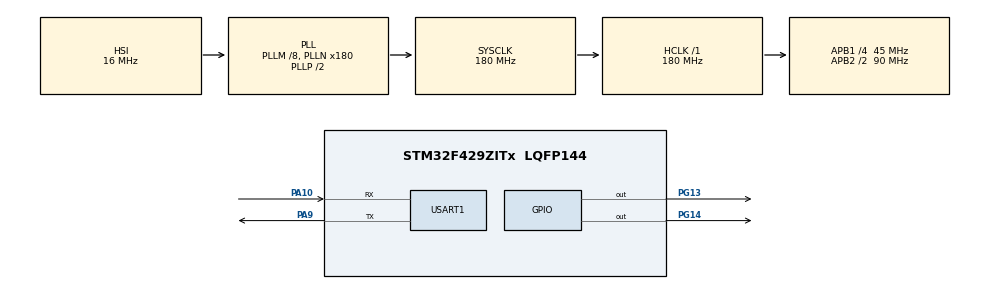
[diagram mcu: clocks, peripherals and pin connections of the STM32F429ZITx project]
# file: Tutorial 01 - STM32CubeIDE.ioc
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Mcu.Family=STM32F4
Mcu.Name=STM32F429ZITx
Mcu.Package=LQFP144
NVIC.PriorityGroup=NVIC_PRIORITYGROUP_4
NVIC.USART1_IRQn=true\:0\:0\:false\:false\:true\:true\:true
PA10.Mode=Asynchronous
PA10.Signal=USART1_RX
PA9.Mode=Asynchronous
PA9.Signal=USART1_TX
PG13.Signal=GPIO_Output
PG14.Signal=GPIO_Output
PH0/OSC_IN.Mode=HSE-External-Oscillator
PH0/OSC_IN.Signal=RCC_OSC_IN
PH1/OSC_OUT.Mode=HSE-External-Oscillator
PH1/OSC_OUT.Signal=RCC_OSC_OUT
ProjectManager.HeapSize=0x200
ProjectManager.StackSize=0x400
ProjectManager.TargetToolchain=STM32CubeIDE
RCC.48MHZClocksFreq_Value=90000000
RCC.AHBFreq_Value=180000000
RCC.APB1CLKDivider=RCC_HCLK_DIV4
RCC.APB1Freq_Value=45000000
RCC.APB1TimFreq_Value=90000000
RCC.APB2CLKDivider=RCC_HCLK_DIV2
RCC.APB2Freq_Value=90000000
RCC.APB2TimFreq_Value=180000000
RCC.CortexFreq_Value=180000000
RCC.HCLKFreq_Value=180000000
RCC.HSE_VALUE=8000000
RCC.HSI_VALUE=16000000
RCC.LSE_VALUE=32768
RCC.PLLM=8
RCC.PLLN=180
RCC.SYSCLKFreq_VALUE=180000000
RCC.SYSCLKSource=RCC_SYSCLKSOURCE_PLLCLK
RCC.VCOOutputFreq_Value=360000000
USART1.VirtualMode=VM_ASYNC
board=custom

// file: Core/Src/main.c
/* USER CODE BEGIN Header */
/**
  ******************************************************************************
  * @file           : main.c
  * @brief          : Main program body
  ******************************************************************************
  * @attention
  *
  * <h2><center>&copy; Copyright (c) 2021 STMicroelectronics.
  * All rights reserved.</center></h2>
  *
  * This software component is licensed by ST under BSD 3-Clause license,
  * the "License"; You may not use this file except in compliance with the
  * License. You may obtain a copy of the License at:
  *                        opensource.org/licenses/BSD-3-Clause
  *
  ******************************************************************************
  */
/* USER CODE END Header */
#include "main.h"
#include "usart.h"
#include "gpio.h"

/* USER CODE BEGIN Includes */
#include "utility.h"
/* USER CODE END Includes */

/* USER CODE BEGIN PV */
uint8_t rxData;
/* USER CODE END PV */

void SystemClock_Config(void);
/* USER CODE BEGIN PFP */

// Add "-u_printf_float" to MCU GCC Linker > Miscellaneous
int _write(int file, char *ptr, int len)
{
  HAL_UART_Transmit(&huart1, (uint8_t *)ptr, len, 10);
  return len;
}

/* USER CODE END PFP */

int main(void)
{

  /* MCU Configuration--------------------------------------------------------*/

  /* Reset of all peripherals, Initializes the Flash interface and the Systick. */
  HAL_Init();

  /* Configure the system clock */
  SystemClock_Config();

  /* Initialize all configured peripherals */
  MX_GPIO_Init();
  MX_USART1_UART_Init();
  /* USER CODE BEGIN 2 */

  HAL_UART_Receive_IT(&huart1, &rxData, 1); // uart interrupt receive start

  /* USER CODE END 2 */

  /* Infinite loop */
  /* USER CODE BEGIN WHILE */

  uint8_t count = 0;
  float f = 0.00;

  while (1)
  {
    printf("Count : %d, %f\n\r", count++, f);
    delay_ms(500);
    f += 0.001;

    /* USER CODE END WHILE */

  }
}

void SystemClock_Config(void)
{
  RCC_OscInitTypeDef RCC_OscInitStruct = {0};
  RCC_ClkInitTypeDef RCC_ClkInitStruct = {0};

  /** Configure the main internal regulator output voltage
  */
  __HAL_RCC_PWR_CLK_ENABLE();
  __HAL_PWR_VOLTAGESCALING_CONFIG(PWR_REGULATOR_VOLTAGE_SCALE1);
  /** Initializes the RCC Oscillators according to the specified parameters
  * in the RCC_OscInitTypeDef structure.
  */
  RCC_OscInitStruct.OscillatorType = RCC_OSCILLATORTYPE_HSI;
  RCC_OscInitStruct.HSIState = RCC_HSI_ON;
  RCC_OscInitStruct.HSICalibrationValue = RCC_HSICALIBRATION_DEFAULT;
  RCC_OscInitStruct.PLL.PLLState = RCC_PLL_ON;
  RCC_OscInitStruct.PLL.PLLSource = RCC_PLLSOURCE_HSI;
  RCC_OscInitStruct.PLL.PLLM = 8;
  RCC_OscInitStruct.PLL.PLLN = 180;
  RCC_OscInitStruct.PLL.PLLP = RCC_PLLP_DIV2;
  RCC_OscInitStruct.PLL.PLLQ = 4;
  if (HAL_RCC_OscConfig(&RCC_OscInitStruct) != HAL_OK)
  {
    Error_Handler();
  }
  /** Activate the Over-Drive mode
  */
  if (HAL_PWREx_EnableOverDrive() != HAL_OK)
  {
    Error_Handler();
  }
  /** Initializes the CPU, AHB and APB buses clocks
  */
  RCC_ClkInitStruct.ClockType = RCC_CLOCKTYPE_HCLK|RCC_CLOCKTYPE_SYSCLK
                              |RCC_CLOCKTYPE_PCLK1|RCC_CLOCKTYPE_PCLK2;
  RCC_ClkInitStruct.SYSCLKSource = RCC_SYSCLKSOURCE_PLLCLK;
  RCC_ClkInitStruct.AHBCLKDivider = RCC_SYSCLK_DIV1;
  RCC_ClkInitStruct.APB1CLKDivider = RCC_HCLK_DIV4;
  RCC_ClkInitStruct.APB2CLKDivider = RCC_HCLK_DIV2;

  if (HAL_RCC_ClockConfig(&RCC_ClkInitStruct, FLASH_LATENCY_5) != HAL_OK)
  {
    Error_Handler();
  }
}

/* USER CODE BEGIN 4 */

void HAL_UART_RxCpltCallback(UART_HandleTypeDef *huart)
{
  if (huart->Instance == USART1)
  {
    HAL_UART_Receive_IT(&huart1, &rxData, 1);
    HAL_UART_Transmit(&huart1, &rxData, 1, 10);
  }
}

/* USER CODE END 4 */

void Error_Handler(void)
{
  __disable_irq();
  while (1)
  {
  }
}

/************************ (C) COPYRIGHT STMicroelectronics *****END OF FILE****/
